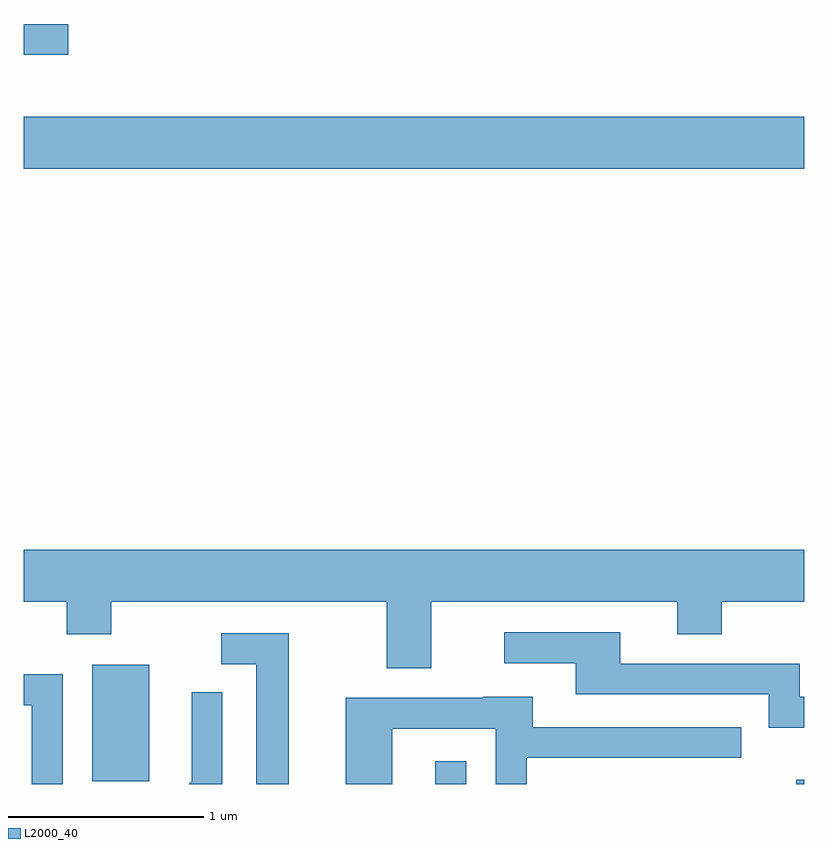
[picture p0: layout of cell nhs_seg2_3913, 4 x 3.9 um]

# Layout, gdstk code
import gdstk
lib = gdstk.Library(unit=1e-6, precision=1e-09)
def R(c, l, rs):  # rectangles x0, y0, x1, y1
    for r in rs: c.add(gdstk.rectangle(r[:2], r[2:], *l))
def P(c, l, *ps):  # polygons
    for p in ps: c.add(gdstk.Polygon(p, *l))
L2000_40 = (2000, 40)

nhs_seg2_3913 = lib.new_cell('nhs_seg2_3913')
R(nhs_seg2_3913, L2000_40, [(301.721,1071.802,301.879,1071.918), (303.571,1071.802,303.611,1071.824), (299.961,1071.816,300.254,1072.414), (299.611,1074.956,303.611,1075.224), (299.611,1075.541,299.838,1075.699)])
P(nhs_seg2_3913, L2000_40, [(301.699,1072.736),(302.961,1072.736),(302.961,1072.571),(303.189,1072.571),(303.189,1072.736),(303.611,1072.736),(303.611,1073.004),(299.611,1073.004),(299.611,1072.736),(299.831,1072.736),(299.831,1072.571),(300.059,1072.571),(300.059,1072.736),(301.471,1072.736),(301.471,1072.396),(301.699,1072.396)],
  [(303.611,1072.249),(303.589,1072.249),(303.589,1072.419),(302.669,1072.419),(302.669,1072.579),(302.073,1072.579),(302.073,1072.421),(302.441,1072.421),(302.441,1072.261),(303.431,1072.261),(303.431,1072.091),(303.611,1072.091)],
  [(300.969,1072.574),(300.623,1072.574),(300.623,1072.416),(300.801,1072.416),(300.801,1071.802),(300.969,1071.802)],
  [(299.809,1072.364),(299.611,1072.364),(299.611,1072.206),(299.651,1072.206),(299.651,1071.802),(299.809,1071.802)],
  [(300.629,1072.273),(300.471,1072.273),(300.471,1071.817),(300.456,1071.802),(300.629,1071.802)],
  [(301.499,1072.086),(302.031,1072.086),(302.031,1071.802),(302.189,1071.802),(302.189,1071.936),(303.288,1071.936),(303.288,1072.094),(302.219,1072.094),(302.219,1072.249),(301.965,1072.249),(301.965,1072.244),(301.261,1072.244),(301.261,1071.802),(301.499,1071.802)])

lib.write_gds('nhs_seg2_3913.gds')
